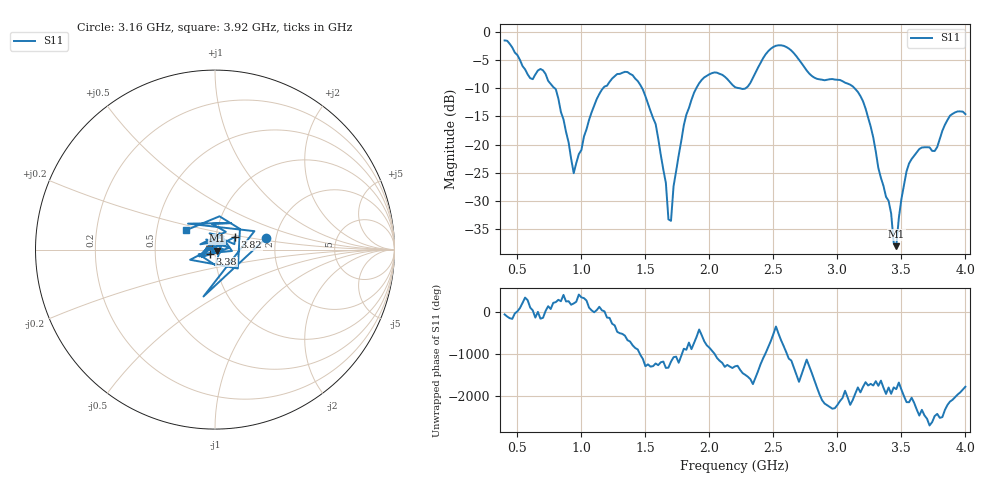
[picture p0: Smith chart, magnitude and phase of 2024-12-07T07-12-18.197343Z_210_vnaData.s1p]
!Created with skrf (http://scikit-rf.org).
# Hz S RI R 50.0
!freq ReS11 ImS11
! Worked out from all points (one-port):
!   181 points, 400 MHz to 4 GHz, reference 50 ohm
!   lowest |S11| = -38.0 dB at 3.46 GHz (marker M1), VSWR 1.03, Z = 51.1 - j0.602 ohm
!   |S11| at or under -10 dB: 789.9 MHz to 1.17 GHz (380.4 MHz wide, 38.8 % of centre); 1.474 GHz to 1.898 GHz (424.3 MHz wide, 25.2 % of centre); 3.133 GHz to end of sweep (the widest 3 of 4)
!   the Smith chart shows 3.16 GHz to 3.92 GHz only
!   S11 on the Smith chart (normalised r, x): 3.16 GHz: 1.78, +0.25; 3.38 GHz: 0.95, -0.04; 3.82 GHz: 1.24, +0.18; 3.92 GHz: 0.71, +0.16
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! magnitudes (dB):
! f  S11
! 400 MHz  -1.6
! 600 MHz  -8.2
! 700 MHz  -6.9
! 860 MHz  -15.5
! 940 MHz  -25.1
! 1.12 GHz  -11.9
! 1.3 GHz  -7.5
! 1.44 GHz  -8.8
! 1.58 GHz  -16.4
! 1.66 GHz  -26.8
! 1.68 GHz  -33.2
! 1.7 GHz  -33.5
! 1.76 GHz  -21.9
! 1.82 GHz  -14.7
! 1.94 GHz  -8.5
! 2.2 GHz  -9.8
! 2.5 GHz  -2.7
! 2.66 GHz  -3.8
! 3.1 GHz  -9.4
! 3.16 GHz  -10.7
! 3.26 GHz  -16.8
! 3.38 GHz  -29.2
! 3.46 GHz  -38.0
! 3.5 GHz  -29.6
! 3.56 GHz  -23.3
! 3.82 GHz  -17.6
! 3.92 GHz  -14.3
! 4 GHz  -14.6
